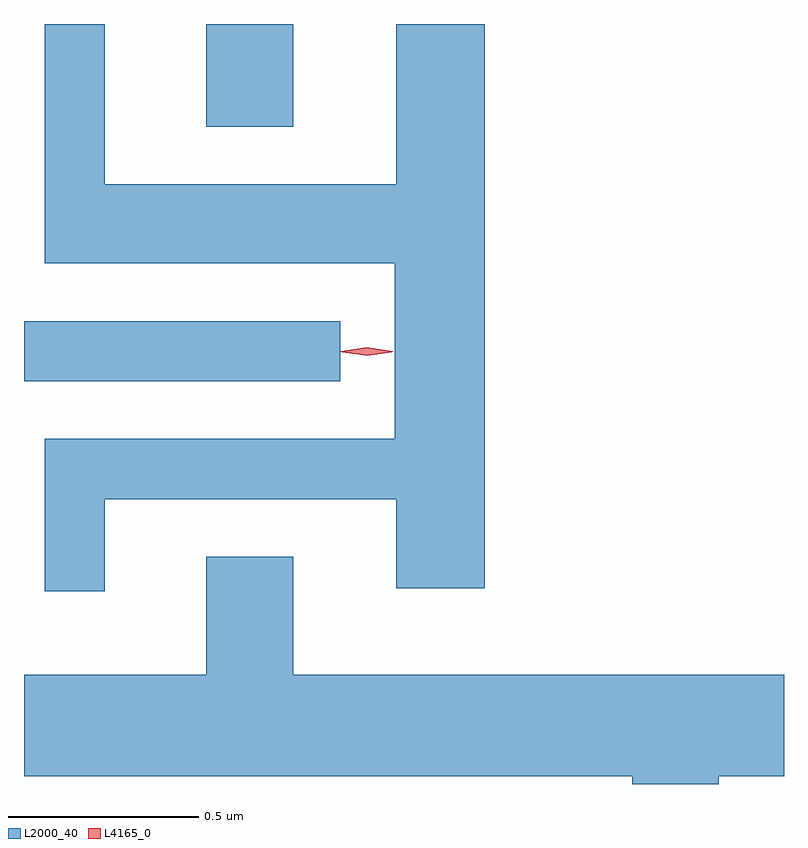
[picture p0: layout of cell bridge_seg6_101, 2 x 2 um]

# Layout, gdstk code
import gdstk
lib = gdstk.Library(unit=1e-6, precision=1e-09)
def R(c, l, rs):  # rectangles x0, y0, x1, y1
    for r in rs: c.add(gdstk.rectangle(r[:2], r[2:], *l))
def P(c, l, *ps):  # polygons
    for p in ps: c.add(gdstk.Polygon(p, *l))
L2000_40 = (2000, 40)
L4165_0 = (4165, 0)

bridge_seg6_101 = lib.new_cell('bridge_seg6_101')
R(bridge_seg6_101, L2000_40, [(1156.301,1615.456,1157.133,1615.614), (1156.781,1616.126,1157.009,1616.396)])
P(bridge_seg6_101, L2000_40, [(1156.514,1615.146),(1157.281,1615.146),(1157.281,1614.911),(1157.514,1614.911),(1157.514,1616.396),(1157.281,1616.396),(1157.281,1615.974),(1156.514,1615.974),(1156.514,1616.396),(1156.356,1616.396),(1156.356,1615.766),(1157.276,1615.766),(1157.276,1615.304),(1156.356,1615.304),(1156.356,1614.903),(1156.514,1614.903)],
  [(1158.129,1614.416),(1158.301,1614.416),(1158.301,1614.684),(1157.009,1614.684),(1157.009,1614.994),(1156.781,1614.994),(1156.781,1614.684),(1156.301,1614.684),(1156.301,1614.416),(1157.901,1614.416),(1157.901,1614.396),(1158.129,1614.396)])
P(bridge_seg6_101, L4165_0, [(1157.203,1615.525),(1157.134,1615.534),(1157.133,1615.535),(1157.134,1615.535),(1157.203,1615.545),(1157.272,1615.535),(1157.272,1615.535),(1157.272,1615.534)],
  [(1157.204,1615.523),(1157.138,1615.532),(1157.137,1615.533),(1157.138,1615.533),(1157.204,1615.543),(1157.269,1615.533),(1157.27,1615.533),(1157.269,1615.532)])

lib.write_gds('bridge_seg6_101.gds')
